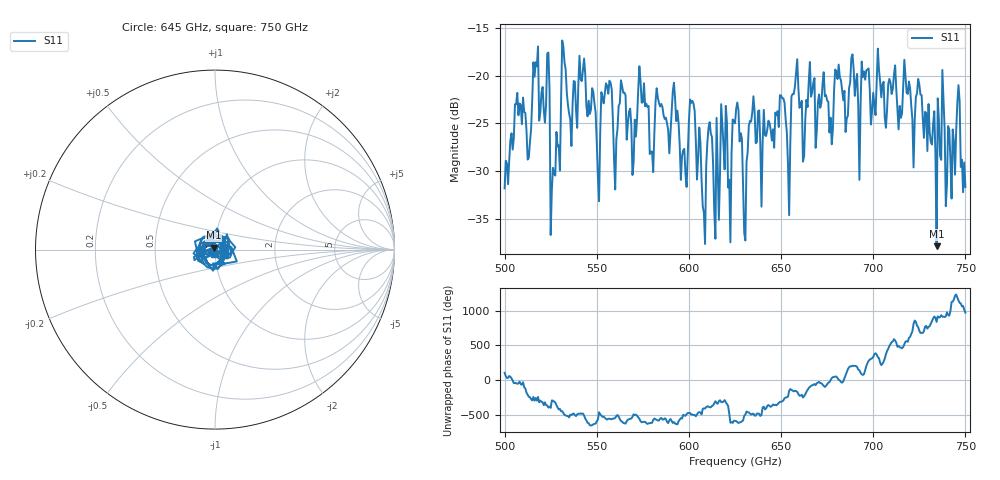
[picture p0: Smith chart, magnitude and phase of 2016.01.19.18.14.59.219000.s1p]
!Created with skrf (http://scikit-rf.org).
# GHz S RI R 50.0
!freq ReS11 ImS11
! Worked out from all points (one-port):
!   401 points, 500 GHz to 750 GHz, reference 50 ohm
!   lowest |S11| = -37.8 dB at 734.4 GHz (marker M1), VSWR 1.03, Z = 49.3 + j1.09 ohm
!   |S11| at or under -10 dB: start of sweep to end of sweep
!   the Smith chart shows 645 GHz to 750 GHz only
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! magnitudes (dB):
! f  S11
! 500 GHz  -31.8
! 506.9 GHz  -21.8
! 513.1 GHz  -28.6
! 516.9 GHz  -18.6
! 523.1 GHz  -17.7
! 526.2 GHz  -29.6
! 531.2 GHz  -16.3
! 541.9 GHz  -20.6
! 550.6 GHz  -30.6
! 553.8 GHz  -22.9
! 562.5 GHz  -22.9
! 593.8 GHz  -23.7
! 598.1 GHz  -30.3
! 601.9 GHz  -22.6
! 608.1 GHz  -34.3
! 611.2 GHz  -24.9
! 615 GHz  -24.4
! 625 GHz  -25.0
! 630.6 GHz  -37.2
! 634.4 GHz  -23.8
! 650.6 GHz  -22.4
! 653.8 GHz  -29.3
! 656.2 GHz  -21.9
! 687.5 GHz  -20.7
! 718.8 GHz  -21.9
! 734.4 GHz  -37.8
! 746.2 GHz  -21.0
! 750 GHz  -31.6
